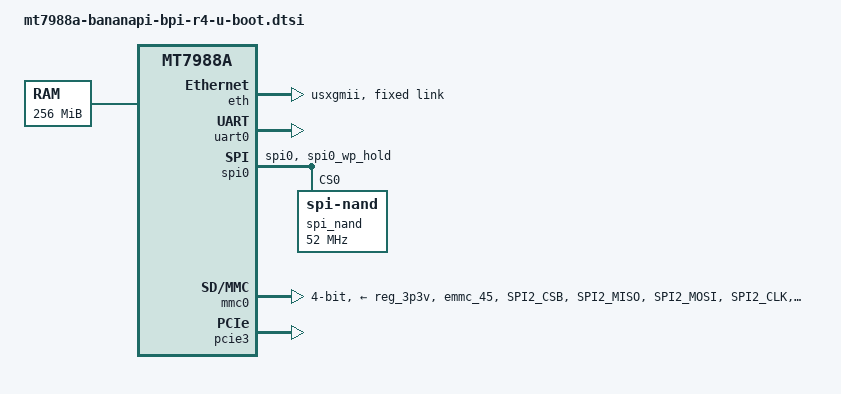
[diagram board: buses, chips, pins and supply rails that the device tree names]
#include <dt-bindings/clock/mt7988-clk.h>
#include <dt-bindings/reset/mt7988-reset.h>
#include <dt-bindings/phy/phy.h>
#include <dt-bindings/pinctrl/mt65xx.h>

/delete-node/ &eth;
/delete-node/ &switch;
/ {

	hwver: hwver {
		compatible = "mediatek,hwver", "syscon";
		reg = <0 0x8000000 0 0x1000>;
	};

	memory@40000000 {
		device_type = "memory";
		reg = <0 0x40000000 0 0x10000000>;
	};

	eth: ethernet@15100000 {
		compatible = "mediatek,mt7988-eth", "syscon";
		reg = <0 0x15100000 0 0x20000>;
		mediatek,ethsys = <&ethsys>;
		mediatek,sgmiisys = <&sgmiisys0>;
		mediatek,usxgmiisys = <&usxgmiisys0>;
		mediatek,xfi_pextp = <&xfi_tphy0>;
		mediatek,xfi_pll = <&xfi_pll>;
		mediatek,infracfg = <&topmisc>;
		mediatek,toprgu = <&watchdog>;
		resets = <&ethsys ETHDMA_FE_RST>, <&ethwarp ETHWARP_GSW_RST>;
		reset-names = "fe", "mcm";
		#address-cells = <1>;
		#size-cells = <0>;
		mediatek,mcm;
		status = "disabled";
	};
};

&uart0 {
	status = "okay";
};

&pio {
	spi0_pins: spi0-pins {
		mux {
			function = "spi";
			groups = "spi0", "spi0_wp_hold";
		};
	};

	mmc1_pins_default: mmc1default {
		mux {
			function = "flash";
			groups =  "emmc_45";
		};

		conf-cmd-dat {
			pins = "SPI2_CSB", "SPI2_MISO", "SPI2_MOSI",
			       "SPI2_CLK", "SPI2_HOLD";
			input-enable;
			drive-strength = <MTK_DRIVE_4mA>;
		};

		conf-clk {
			pins = "SPI2_WP";
			drive-strength = <MTK_DRIVE_4mA>;
		};
	};
};

&cpu0 {
	mediatek,hwver = <&hwver>;
};

&xfi_tphy0 {
	compatible = "mediatek,mt7988-xfi_pextp_0", "syscon";
};

&xfi_pll {
	compatible = "mediatek,mt7988-xfi-pll", "syscon";
};

&ethsys {
	compatible = "mediatek,mt7988-ethdma", "syscon";
};

&ethwarp {
	compatible = "mediatek,mt7988-ethwarp", "syscon";
};

&usxgmiisys0 {
	compatible = "mediatek,mt7988-usxgmiisys_0", "syscon";
};

&watchdog {
	compatible = "mediatek,mt7622-wdt",
		     "mediatek,mt6589-wdt",
		     "syscon";
};

&topmisc {
	clock-parent = <&topckgen>;
};

&eth {
	status = "okay";
	mediatek,gmac-id = <0>;
	phy-mode = "usxgmii";
	mediatek,switch = "mt7988";

	fixed-link {
		speed = <1000>;
		full-duplex;
		pause;
	};
};

&spi0 {
	pinctrl-names = "default";
	pinctrl-0 = <&spi0_pins>;
	#address-cells = <1>;
	#size-cells = <0>;
	status = "okay";
	must_tx;
	enhance_timing;
	dma_ext;
	ipm_design;
	support_quad;
	tick_dly = <2>;
	sample_sel = <0>;

	spi_nand@0 {
		compatible = "spi-nand";
		reg = <0>;
		spi-max-frequency = <52000000>;
	};
};

&mmc0 {
	pinctrl-names = "default";
	pinctrl-0 = <&mmc1_pins_default>;
	max-frequency = <52000000>;
	bus-width = <4>;
	cap-sd-highspeed;
	vmmc-supply = <&reg_3p3v>;
	vqmmc-supply = <&reg_3p3v>;
	status = "okay";
};

&pcie2 {
	status = "disabled";
};

&pcie3 {
	status = "okay";
};

